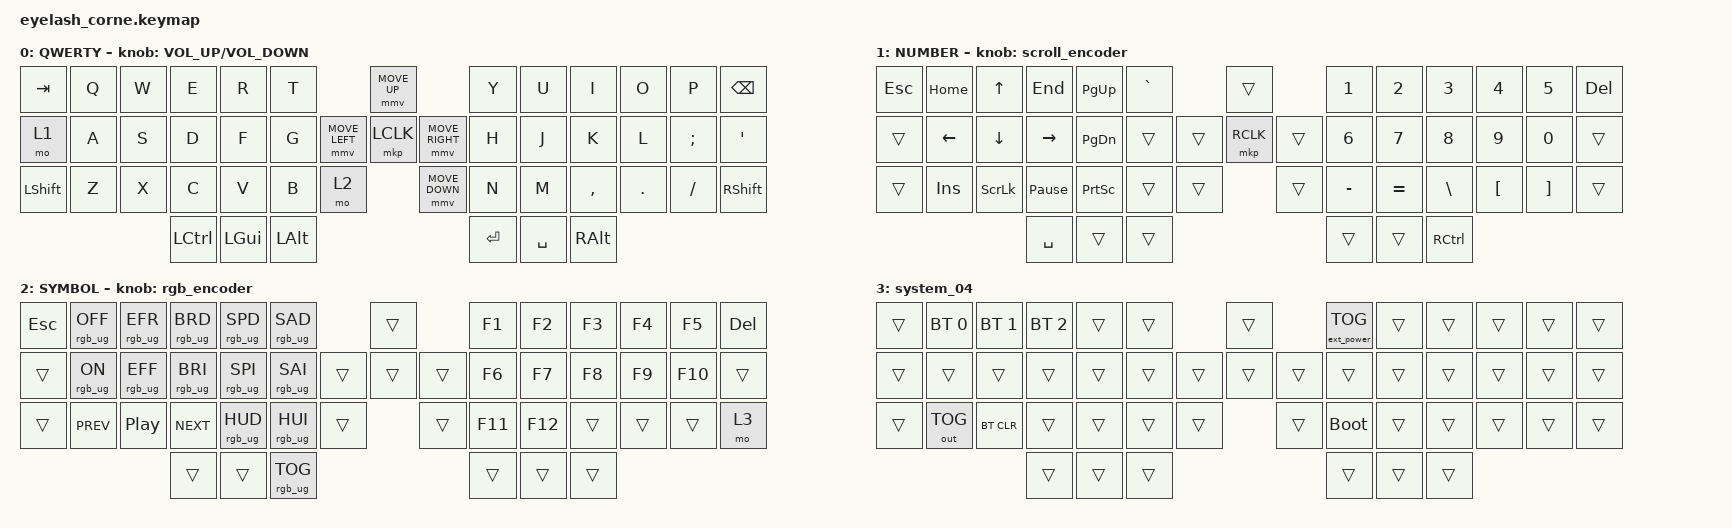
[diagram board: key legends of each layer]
#define ZMK_POINTING_DEFAULT_MOVE_VAL 1200  // 600
#define ZMK_POINTING_DEFAULT_SCRL_VAL 25   // 10

#include <input/processors.dtsi>
#include <zephyr/dt-bindings/input/input-event-codes.h>
#include <behaviors.dtsi>
#include <dt-bindings/zmk/bt.h>
#include <dt-bindings/zmk/ext_power.h>
#include <dt-bindings/zmk/keys.h>
#include <dt-bindings/zmk/outputs.h>
#include <dt-bindings/zmk/pointing.h>
#include <dt-bindings/zmk/rgb.h>

&mmv_input_listener { input-processors = <&zip_xy_scaler 2 1>; };

&msc_input_listener { input-processors = <&zip_scroll_scaler 2 1>; };

&msc {
    acceleration-exponent = <1>;      // 0
    time-to-max-speed-ms = <100>;       // 300
    delay-ms = <0>;                   // 0
};

&mmv {
    time-to-max-speed-ms = <500>;
    acceleration-exponent = <1>;
    trigger-period-ms = <16>;
};

&soft_off { hold-time-ms = <2000>; };

/ {
    behaviors {
        td0: td0 {
            compatible = "zmk,behavior-tap-dance";
            display-name = "Shift/Caps Lock Tap Dance";
            #binding-cells = <0>;
            bindings = <&kp LEFT_SHIFT>, <&kp CAPS>;
        };
    };

    rgb_encoder: rgb_encoder {
        compatible = "zmk,behavior-sensor-rotate";
        #sensor-binding-cells = <0>;
        bindings = <&rgb_ug RGB_BRI>, <&rgb_ug RGB_BRD>;
    };

    scroll_encoder: scroll_encoder {
        compatible = "zmk,behavior-sensor-rotate";
        #sensor-binding-cells = <0>;
        bindings = <&msc SCRL_DOWN>, <&msc SCRL_UP>;

        tap-ms = <100>;
    };

    combos {
        compatible = "zmk,combos";

        softoff {
            bindings = <&soft_off>;
            key-positions = <1 15 29>;
        };
    };

    keymap {
        compatible = "zmk,keymap";

        base_01 {
            display-name = "QWERTY";
            bindings = <
&kp TAB         &kp Q  &kp W  &kp E      &kp R     &kp T                                  &mmv MOVE_UP                     &kp Y      &kp U      &kp I      &kp O    &kp P     &kp BSPC
&mo 1           &kp A  &kp S  &kp D      &kp F     &kp G                  &mmv MOVE_LEFT  &mkp LCLK       &mmv MOVE_RIGHT  &kp H      &kp J      &kp K      &kp L    &kp SEMI  &kp SQT
&kp LEFT_SHIFT  &kp Z  &kp X  &kp C      &kp V     &kp B         &mo 2                    &mmv MOVE_DOWN                   &kp N      &kp M      &kp COMMA  &kp DOT  &kp FSLH  &kp RIGHT_SHIFT
                              &kp LCTRL  &kp LGUI  &kp LEFT_ALT                                                            &kp ENTER  &kp SPACE  &kp RALT
            >;

            sensor-bindings = <&inc_dec_kp C_VOLUME_UP C_VOLUME_DOWN>;
        };

        num_nav_02 {
            display-name = "NUMBER";
            bindings = <
&kp ESCAPE  &kp HOME        &kp UP_ARROW    &kp END          &kp PAGE_UP      &kp GRAVE                    &trans             &kp N1     &kp N2     &kp N3         &kp N4    &kp N5    &kp DELETE
&trans      &kp LEFT_ARROW  &kp DOWN_ARROW  &kp RIGHT_ARROW  &kp PAGE_DOWN    &trans               &trans  &mkp RCLK  &trans  &kp N6     &kp N7     &kp N8         &kp N9    &kp N0    &trans
&trans      &kp INSERT      &kp SCROLLLOCK  &kp PAUSE_BREAK  &kp PRINTSCREEN  &trans     &trans            &trans             &kp MINUS  &kp EQUAL  &kp BACKSLASH  &kp LBKT  &kp RBKT  &trans
                                            &kp SPACE        &trans           &trans                                          &trans     &trans     &kp RCTRL
            >;

            sensor-bindings = <&scroll_encoder>;
        };

        fn_rgb_03 {
            display-name = "SYMBOL";
            bindings = <
&kp ESCAPE  &rgb_ug RGB_OFF  &rgb_ug RGB_EFR  &rgb_ug RGB_BRD  &rgb_ug RGB_SPD  &rgb_ug RGB_SAD                    &trans          &kp F1   &kp F2   &kp F3  &kp F4  &kp F5   &kp DELETE
&trans      &rgb_ug RGB_ON   &rgb_ug RGB_EFF  &rgb_ug RGB_BRI  &rgb_ug RGB_SPI  &rgb_ug RGB_SAI            &trans  &trans  &trans  &kp F6   &kp F7   &kp F8  &kp F9  &kp F10  &trans
&trans      &kp C_PREV       &kp C_PP         &kp C_NEXT       &rgb_ug RGB_HUD  &rgb_ug RGB_HUI  &trans            &trans          &kp F11  &kp F12  &trans  &trans  &trans   &mo 3
                                              &trans           &trans           &rgb_ug RGB_TOG                                    &trans   &trans   &trans
            >;

            sensor-bindings = <&rgb_encoder>;
        };

        system_04 {
            bindings = <
&trans  &bt BT_SEL 0  &bt BT_SEL 1  &bt BT_SEL 2  &trans  &trans                    &trans          &ext_power EP_TOG  &trans  &trans  &trans  &trans  &trans
&trans  &trans        &trans        &trans        &trans  &trans            &trans  &trans  &trans  &trans             &trans  &trans  &trans  &trans  &trans
&trans  &out OUT_TOG  &bt BT_CLR    &trans        &trans  &trans  &trans            &trans          &bootloader        &trans  &trans  &trans  &trans  &trans
                                    &trans        &trans  &trans                                    &trans             &trans  &trans
            >;
        };
    };
};
